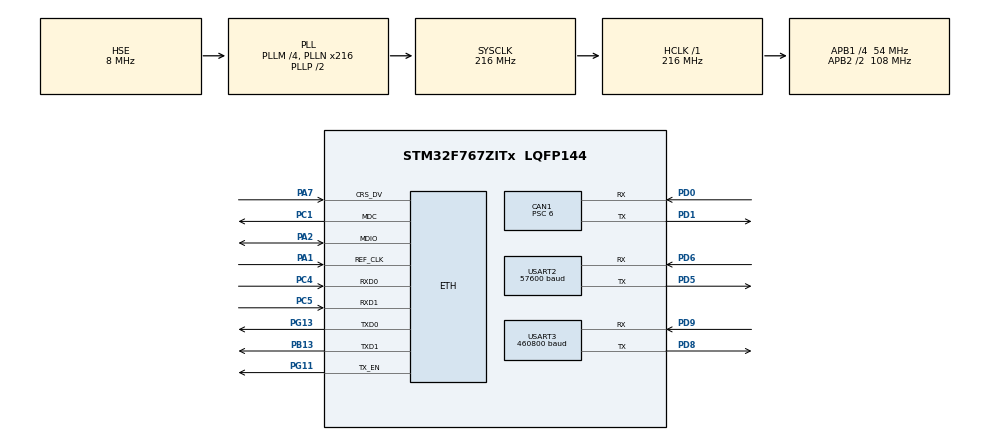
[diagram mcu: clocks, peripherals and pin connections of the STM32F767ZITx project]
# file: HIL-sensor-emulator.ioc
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CAN1.BS1=CAN_BS1_7TQ
CAN1.CalculateBaudRate=1000000
CAN1.CalculateTimeBit=1000
CAN1.CalculateTimeQuantum=111.11111111111111
CAN1.Prescaler=6
CORTEX_M7.AccessPermission-Cortex_Memory_Protection_Unit_Region1_Settings=MPU_REGION_FULL_ACCESS
CORTEX_M7.AccessPermission-Cortex_Memory_Protection_Unit_Region2_Settings=MPU_REGION_FULL_ACCESS
CORTEX_M7.BaseAddress-Cortex_Memory_Protection_Unit_Region1_Settings=0x20078000
CORTEX_M7.BaseAddress-Cortex_Memory_Protection_Unit_Region2_Settings=0x2007c000
CORTEX_M7.CPU_DCache=Enabled
CORTEX_M7.CPU_ICache=Enabled
CORTEX_M7.DisableExec-Cortex_Memory_Protection_Unit_Region0_Settings=MPU_INSTRUCTION_ACCESS_DISABLE
CORTEX_M7.DisableExec-Cortex_Memory_Protection_Unit_Region1_Settings=MPU_INSTRUCTION_ACCESS_DISABLE
CORTEX_M7.DisableExec-Cortex_Memory_Protection_Unit_Region2_Settings=MPU_INSTRUCTION_ACCESS_DISABLE
CORTEX_M7.Enable-Cortex_Memory_Protection_Unit_Region0_Settings=MPU_REGION_ENABLE
CORTEX_M7.Enable-Cortex_Memory_Protection_Unit_Region1_Settings=MPU_REGION_ENABLE
CORTEX_M7.Enable-Cortex_Memory_Protection_Unit_Region2_Settings=MPU_REGION_ENABLE
CORTEX_M7.IsBufferable-Cortex_Memory_Protection_Unit_Region2_Settings=MPU_ACCESS_BUFFERABLE
CORTEX_M7.IsShareable-Cortex_Memory_Protection_Unit_Region0_Settings=MPU_ACCESS_SHAREABLE
CORTEX_M7.IsShareable-Cortex_Memory_Protection_Unit_Region2_Settings=MPU_ACCESS_SHAREABLE
CORTEX_M7.MPU_Control=MPU_PRIVILEGED_DEFAULT
CORTEX_M7.Size-Cortex_Memory_Protection_Unit_Region0_Settings=MPU_REGION_SIZE_4GB
CORTEX_M7.Size-Cortex_Memory_Protection_Unit_Region1_Settings=MPU_REGION_SIZE_16KB
CORTEX_M7.Size-Cortex_Memory_Protection_Unit_Region2_Settings=MPU_REGION_SIZE_1KB
CORTEX_M7.SubRegionDisable-Cortex_Memory_Protection_Unit_Region0_Settings=0x87
CORTEX_M7.TypeExtField-Cortex_Memory_Protection_Unit_Region1_Settings=MPU_TEX_LEVEL1
Dma.Request0=USART2_RX
Dma.USART2_RX.0.Direction=DMA_PERIPH_TO_MEMORY
Dma.USART2_RX.0.FIFOMode=DMA_FIFOMODE_DISABLE
Dma.USART2_RX.0.Instance=DMA1_Stream5
Dma.USART2_RX.0.MemDataAlignment=DMA_MDATAALIGN_BYTE
Dma.USART2_RX.0.MemInc=DMA_MINC_ENABLE
Dma.USART2_RX.0.Mode=DMA_NORMAL
Dma.USART2_RX.0.PeriphDataAlignment=DMA_PDATAALIGN_BYTE
Dma.USART2_RX.0.PeriphInc=DMA_PINC_DISABLE
Dma.USART2_RX.0.Priority=DMA_PRIORITY_MEDIUM
ETH.MediaInterface=HAL_ETH_RMII_MODE
ETH.RxMode=ETH_RXINTERRUPT_MODE
FREERTOS.Tasks01=defaultTask,0,512,StartDefaultTask,Default,NULL,Dynamic,NULL,NULL
FREERTOS.configUSE_NEWLIB_REENTRANT=1
LWIP.BSP.number=1
LWIP.GATEWAY_ADDRESS=192.168.001.001
LWIP.IP_ADDRESS=192.168.001.010
LWIP.LWIP_DHCP=0
LWIP.LWIP_HTTPD=0
LWIP.LWIP_RAM_HEAP_POINTER=0x20078000
LWIP.MEM_SIZE=16*1024
LWIP.NETMASK_ADDRESS=255.255.255.000
LWIP.Version=v2.1.2_Cube
LWIP0.BSP.STBoard=false
LWIP0.BSP.api=BSP_COMPONENT_DRIVER
LWIP0.BSP.component=LAN8742
LWIP0.BSP.instance=LAN8742
LWIP0.BSP.name=Driver_PHY
LWIP0.BSP.semaphore=S_LAN8742
LWIP0.BSP.solution=LAN8742
Mcu.Family=STM32F7
Mcu.Name=STM32F767ZITx
Mcu.Package=LQFP144
NVIC.CAN1_RX0_IRQn=true\:5\:0\:false\:false\:true\:true\:true\:true\:true
NVIC.CAN1_RX1_IRQn=true\:5\:0\:false\:false\:true\:true\:true\:true\:true
NVIC.CAN1_TX_IRQn=true\:5\:0\:false\:false\:true\:true\:true\:true\:true
NVIC.DMA1_Stream5_IRQn=true\:5\:0\:false\:false\:true\:true\:false\:true\:true
NVIC.ETH_IRQn=true\:5\:0\:true\:false\:true\:true\:true\:true\:true
NVIC.PriorityGroup=NVIC_PRIORITYGROUP_4
NVIC.TIM6_DAC_IRQn=true\:15\:0\:false\:false\:true\:false\:false\:true\:true
NVIC.TimeBase=TIM6_DAC_IRQn
NVIC.TimeBaseIP=TIM6
NVIC.USART2_IRQn=true\:5\:0\:false\:false\:true\:true\:true\:true\:true
PA1.Mode=RMII
PA1.Signal=ETH_REF_CLK
PA13.Mode=Serial_Wire
PA13.Signal=SYS_JTMS-SWDIO
PA14.Mode=Serial_Wire
PA14.Signal=SYS_JTCK-SWCLK
PA2.Mode=RMII
PA2.Signal=ETH_MDIO
PA7.Mode=RMII
PA7.Signal=ETH_CRS_DV
PB13.Mode=RMII
PB13.Signal=ETH_TXD1
PC1.Mode=RMII
PC1.Signal=ETH_MDC
PC4.Mode=RMII
PC4.Signal=ETH_RXD0
PC5.Mode=RMII
PC5.Signal=ETH_RXD1
PD0.Mode=CAN_Activate
PD0.Signal=CAN1_RX
PD1.Mode=CAN_Activate
PD1.Signal=CAN1_TX
PD5.Mode=Asynchronous
PD5.Signal=USART2_TX
PD6.Mode=Asynchronous
PD6.Signal=USART2_RX
PD8.Mode=Asynchronous
PD8.Signal=USART3_TX
PD9.Mode=Asynchronous
PD9.Signal=USART3_RX
PG11.Mode=RMII
PG11.Signal=ETH_TX_EN
PG13.Mode=RMII
PG13.Signal=ETH_TXD0
PH0/OSC_IN.Mode=HSE-External-Clock-Source
PH0/OSC_IN.Signal=RCC_OSC_IN
PH1/OSC_OUT.Mode=HSE-External-Clock-Source
PH1/OSC_OUT.Signal=RCC_OSC_OUT
ProjectManager.HeapSize=0x200
ProjectManager.StackSize=0x400
ProjectManager.TargetToolchain=STM32CubeIDE
RCC.48MHZClocksFreq_Value=24000000
RCC.AHBFreq_Value=216000000
RCC.APB1CLKDivider=RCC_HCLK_DIV4
RCC.APB1Freq_Value=54000000
RCC.APB1TimFreq_Value=108000000
RCC.APB2CLKDivider=RCC_HCLK_DIV2
RCC.APB2Freq_Value=108000000
RCC.APB2TimFreq_Value=216000000
RCC.CortexFreq_Value=216000000
RCC.HCLKFreq_Value=216000000
RCC.HSE_VALUE=8000000
RCC.HSI_VALUE=16000000
RCC.LSE_VALUE=32768
RCC.PLLM=4
RCC.PLLMUL=RCC_PLL_MUL9
RCC.PLLN=216
RCC.PLLSourceVirtual=RCC_PLLSOURCE_HSE
RCC.PRESCALERUSB=RCC_USBCLKSOURCE_PLL_DIV1_5
RCC.SYSCLKFreq_VALUE=216000000
RCC.SYSCLKSource=RCC_SYSCLKSOURCE_PLLCLK
RCC.SYSCLKSourceVirtual=RCC_SYSCLKSOURCE_PLLCLK
RCC.USBFreq_Value=216000000
RCC.VCOOutputFreq_Value=432000000
USART2.BaudRate=57600
USART2.VirtualMode-Asynchronous=VM_ASYNC
USART3.BaudRate=460800
USART3.VirtualMode-Asynchronous=VM_ASYNC
VP_FREERTOS_VS_CMSIS_V1.Mode=CMSIS_V1
VP_LWIP_VS_Enabled.Mode=Enabled
VP_SYS_VS_tim6.Mode=TIM6
board=NUCLEO-F767ZI

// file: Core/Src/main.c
/* USER CODE BEGIN Header */
/**
  ******************************************************************************
  * @file           : main.c
  * @brief          : Main program body
  ******************************************************************************
  * @attention
  *
  * Copyright (c) 2025 STMicroelectronics.
  * All rights reserved.
  *
  * This software is licensed under terms that can be found in the LICENSE file
  * in the root directory of this software component.
  * If no LICENSE file comes with this software, it is provided AS-IS.
  *
  ******************************************************************************
  */
/* USER CODE END Header */
#include "main.h"
#include "cmsis_os.h"
#include "can.h"
#include "dma.h"
#include "lwip.h"
#include "usart.h"
#include "gpio.h"

/* USER CODE BEGIN PD */
#ifdef __GNUC__
#define PUTCHAR_PROTOTYPE int __io_putchar(int ch)
#else
#define PUTCHAR_PROTOTYPE int fputc(int ch, FILE *f)
#endif
/* USER CODE END PD */

void SystemClock_Config(void);
static void MPU_Config(void);
void MX_FREERTOS_Init(void);

int main(void)
{

  /* MPU Configuration--------------------------------------------------------*/
  MPU_Config();

  /* Enable the CPU Cache */

  /* Enable I-Cache---------------------------------------------------------*/
  SCB_EnableICache();

  /* Enable D-Cache---------------------------------------------------------*/
  SCB_EnableDCache();

  /* MCU Configuration--------------------------------------------------------*/

  /* Reset of all peripherals, Initializes the Flash interface and the Systick. */
  HAL_Init();

  /* Configure the system clock */
  SystemClock_Config();

  /* Initialize all configured peripherals */
  MX_GPIO_Init();
  MX_DMA_Init();
  MX_USART3_UART_Init();
  MX_USART2_UART_Init();
  MX_CAN1_Init();
  /* USER CODE BEGIN 2 */

  CAN_Filter(&hcan1);
  if(HAL_CAN_Start(&hcan1) != HAL_OK)
  {
	  Error_Handler();
  }
 // HAL_Delay(3000);

  if(HAL_CAN_ActivateNotification(&hcan1, CAN_IT_RX_FIFO0_MSG_PENDING) != HAL_OK)
  {
	  Error_Handler();
  }

  /* USER CODE END 2 */

  /* Call init function for freertos objects (in cmsis_os2.c) */
  MX_FREERTOS_Init();

  /* Start scheduler */
  osKernelStart();

  /* We should never get here as control is now taken by the scheduler */

  /* Infinite loop */
  while (1)
  {

  }
}

void SystemClock_Config(void)
{
  RCC_OscInitTypeDef RCC_OscInitStruct = {0};
  RCC_ClkInitTypeDef RCC_ClkInitStruct = {0};

  /** Configure the main internal regulator output voltage
  */
  __HAL_RCC_PWR_CLK_ENABLE();
  __HAL_PWR_VOLTAGESCALING_CONFIG(PWR_REGULATOR_VOLTAGE_SCALE1);

  /** Initializes the RCC Oscillators according to the specified parameters
  * in the RCC_OscInitTypeDef structure.
  */
  RCC_OscInitStruct.OscillatorType = RCC_OSCILLATORTYPE_HSE;
  RCC_OscInitStruct.HSEState = RCC_HSE_BYPASS;
  RCC_OscInitStruct.PLL.PLLState = RCC_PLL_ON;
  RCC_OscInitStruct.PLL.PLLSource = RCC_PLLSOURCE_HSE;
  RCC_OscInitStruct.PLL.PLLM = 4;
  RCC_OscInitStruct.PLL.PLLN = 216;
  RCC_OscInitStruct.PLL.PLLP = RCC_PLLP_DIV2;
  RCC_OscInitStruct.PLL.PLLQ = 2;
  RCC_OscInitStruct.PLL.PLLR = 2;
  if (HAL_RCC_OscConfig(&RCC_OscInitStruct) != HAL_OK)
  {
    Error_Handler();
  }

  /** Activate the Over-Drive mode
  */
  if (HAL_PWREx_EnableOverDrive() != HAL_OK)
  {
    Error_Handler();
  }

  /** Initializes the CPU, AHB and APB buses clocks
  */
  RCC_ClkInitStruct.ClockType = RCC_CLOCKTYPE_HCLK|RCC_CLOCKTYPE_SYSCLK
                              |RCC_CLOCKTYPE_PCLK1|RCC_CLOCKTYPE_PCLK2;
  RCC_ClkInitStruct.SYSCLKSource = RCC_SYSCLKSOURCE_PLLCLK;
  RCC_ClkInitStruct.AHBCLKDivider = RCC_SYSCLK_DIV1;
  RCC_ClkInitStruct.APB1CLKDivider = RCC_HCLK_DIV4;
  RCC_ClkInitStruct.APB2CLKDivider = RCC_HCLK_DIV2;

  if (HAL_RCC_ClockConfig(&RCC_ClkInitStruct, FLASH_LATENCY_7) != HAL_OK)
  {
    Error_Handler();
  }
}

/* USER CODE BEGIN 4 */
int __io_putchar(int ch)
{
  /* Place your implementation of fputc here */
  /* e.g. write a character to the USART3 and Loop until the end of transmission */
  HAL_UART_Transmit(&huart3, (uint8_t *)&ch, 1, 0xFFFF);

  return ch;
}

/* USER CODE END 4 */

 /* MPU Configuration */

void MPU_Config(void)
{
  MPU_Region_InitTypeDef MPU_InitStruct = {0};

  /* Disables the MPU */
  HAL_MPU_Disable();

  /** Initializes and configures the Region and the memory to be protected
  */
  MPU_InitStruct.Enable = MPU_REGION_ENABLE;
  MPU_InitStruct.Number = MPU_REGION_NUMBER0;
  MPU_InitStruct.BaseAddress = 0x0;
  MPU_InitStruct.Size = MPU_REGION_SIZE_4GB;
  MPU_InitStruct.SubRegionDisable = 0x87;
  MPU_InitStruct.TypeExtField = MPU_TEX_LEVEL0;
  MPU_InitStruct.AccessPermission = MPU_REGION_NO_ACCESS;
  MPU_InitStruct.DisableExec = MPU_INSTRUCTION_ACCESS_DISABLE;
  MPU_InitStruct.IsShareable = MPU_ACCESS_SHAREABLE;
  MPU_InitStruct.IsCacheable = MPU_ACCESS_NOT_CACHEABLE;
  MPU_InitStruct.IsBufferable = MPU_ACCESS_NOT_BUFFERABLE;

  HAL_MPU_ConfigRegion(&MPU_InitStruct);

  /** Initializes and configures the Region and the memory to be protected
  */
  MPU_InitStruct.Number = MPU_REGION_NUMBER1;
  MPU_InitStruct.BaseAddress = 0x20078000;
  MPU_InitStruct.Size = MPU_REGION_SIZE_16KB;
  MPU_InitStruct.SubRegionDisable = 0x0;
  MPU_InitStruct.TypeExtField = MPU_TEX_LEVEL1;
  MPU_InitStruct.AccessPermission = MPU_REGION_FULL_ACCESS;
  MPU_InitStruct.IsShareable = MPU_ACCESS_NOT_SHAREABLE;

  HAL_MPU_ConfigRegion(&MPU_InitStruct);

  /** Initializes and configures the Region and the memory to be protected
  */
  MPU_InitStruct.Number = MPU_REGION_NUMBER2;
  MPU_InitStruct.BaseAddress = 0x2007c000;
  MPU_InitStruct.Size = MPU_REGION_SIZE_1KB;
  MPU_InitStruct.TypeExtField = MPU_TEX_LEVEL0;
  MPU_InitStruct.IsShareable = MPU_ACCESS_SHAREABLE;
  MPU_InitStruct.IsBufferable = MPU_ACCESS_BUFFERABLE;

  HAL_MPU_ConfigRegion(&MPU_InitStruct);
  /* Enables the MPU */
  HAL_MPU_Enable(MPU_PRIVILEGED_DEFAULT);

}

void HAL_TIM_PeriodElapsedCallback(TIM_HandleTypeDef *htim)
{
  if (htim->Instance == TIM6)
  {
    HAL_IncTick();
  }
}

void Error_Handler(void)
{
  /* USER CODE BEGIN Error_Handler_Debug */
  /* User can add his own implementation to report the HAL error return state */
	NVIC_SystemReset;
//  __disable_irq();
//  while (1)
//  {
//  }
  /* USER CODE END Error_Handler_Debug */
}

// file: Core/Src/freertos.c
/* USER CODE BEGIN Header */
/**
  ******************************************************************************
  * File Name          : freertos.c
  * Description        : Code for freertos applications
  ******************************************************************************
  * @attention
  *
  * Copyright (c) 2025 STMicroelectronics.
  * All rights reserved.
  *
  * This software is licensed under terms that can be found in the LICENSE file
  * in the root directory of this software component.
  * If no LICENSE file comes with this software, it is provided AS-IS.
  *
  ******************************************************************************
  */
/* USER CODE END Header */

#include "FreeRTOS.h"
#include "task.h"
#include "main.h"
#include "cmsis_os.h"

/* USER CODE BEGIN Includes */
#include "hil_sensor_emulator.h"
/* USER CODE END Includes */

osThreadId defaultTaskHandle;

/* USER CODE BEGIN FunctionPrototypes */
extern void udpecho_init(void);
/* USER CODE END FunctionPrototypes */

void StartDefaultTask(void const * argument);

extern void MX_LWIP_Init(void);
void MX_FREERTOS_Init(void); /* (MISRA C 2004 rule 8.1) */

/* GetIdleTaskMemory prototype (linked to static allocation support) */
void vApplicationGetIdleTaskMemory( StaticTask_t **ppxIdleTaskTCBBuffer, StackType_t **ppxIdleTaskStackBuffer, uint32_t *pulIdleTaskStackSize );

/* USER CODE BEGIN GET_IDLE_TASK_MEMORY */
static StaticTask_t xIdleTaskTCBBuffer;
static StackType_t xIdleStack[configMINIMAL_STACK_SIZE];

void vApplicationGetIdleTaskMemory( StaticTask_t **ppxIdleTaskTCBBuffer, StackType_t **ppxIdleTaskStackBuffer, uint32_t *pulIdleTaskStackSize )
{
  *ppxIdleTaskTCBBuffer = &xIdleTaskTCBBuffer;
  *ppxIdleTaskStackBuffer = &xIdleStack[0];
  *pulIdleTaskStackSize = configMINIMAL_STACK_SIZE;
  /* place for user code */
}
/* USER CODE END GET_IDLE_TASK_MEMORY */

void MX_FREERTOS_Init(void) {

  /* Create the thread(s) */
  /* definition and creation of defaultTask */
  osThreadDef(defaultTask, StartDefaultTask, osPriorityNormal, 0, 512);
  defaultTaskHandle = osThreadCreate(osThread(defaultTask), NULL);

}

void StartDefaultTask(void const * argument)
{
  /* init code for LWIP */
  MX_LWIP_Init();
  /* USER CODE BEGIN StartDefaultTask */
  udpecho_init();
  hil_sensor_emulator_init();
//  printf("UDP Echo server successfully initialized!\n");
  /* Infinite loop */
  for(;;)
  {
	  /* Delete the Init Thread*/
	  osThreadTerminate(NULL);
  }
  /* USER CODE END StartDefaultTask */
}
